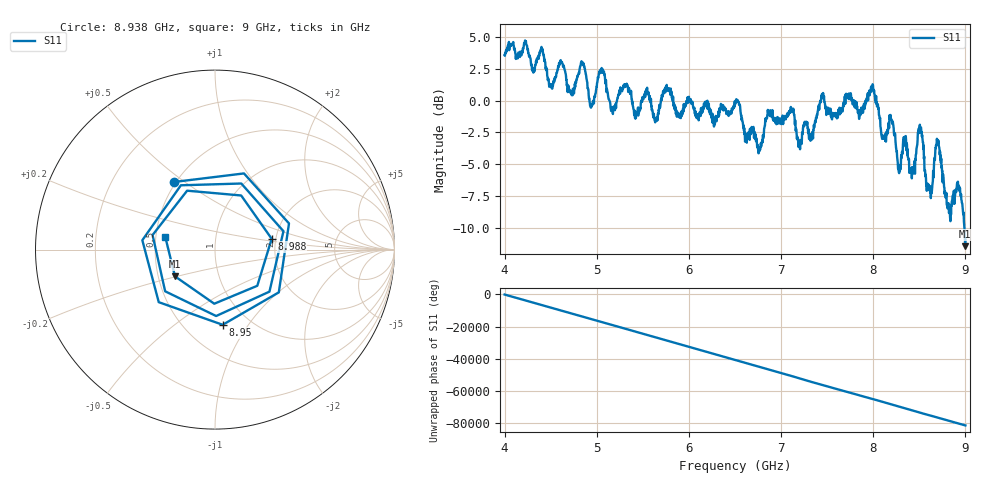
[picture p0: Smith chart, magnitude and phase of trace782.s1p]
! Created with skrf 1.8.0 (http://scikit-rf.org).
# Hz S RI R 50.0
!freq ReS11 ImS11
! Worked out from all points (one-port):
!   1601 points, 4 GHz to 9 GHz, reference 50 ohm
!   lowest |S11| = -11.4 dB at 8.997 GHz (marker M1), VSWR 1.73, Z = 30.6 - j9.83 ohm
!   |S11| at or under -10 dB: 8.989381 GHz to end of sweep
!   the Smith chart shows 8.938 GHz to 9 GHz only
!   S11 on the Smith chart (normalised r, x): 8.938 GHz: 0.49, +0.46; 8.95 GHz: 0.75, -0.77; 8.988 GHz: 1.90, +0.25; 9 GHz: 0.56, +0.08
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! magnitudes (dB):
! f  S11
! 4 GHz  3.6
! 4.625 GHz  2.9
! 4.728 GHz  0.4
! 4.853 GHz  2.8
! 4.944 GHz  -0.4
! 5.05 GHz  2.4
! 5.172 GHz  -0.7
! 5.25 GHz  0.6
! 5.875 GHz  -0.9
! 6.5 GHz  -0.3
! 6.762 GHz  -4.0
! 7.125 GHz  -0.6
! 7.2 GHz  -3.6
! 7.444 GHz  0.5
! 7.75 GHz  0.6
! 7.991 GHz  1.1
! 8.106 GHz  -2.8
! 8.375 GHz  -4.4
! 8.428 GHz  -5.7
! 8.509 GHz  -2.2
! 8.6 GHz  -6.6
! 8.7 GHz  -3.3
! 8.822 GHz  -8.8
! 8.938 GHz  -7.1
! 8.95 GHz  -7.5
! 8.988 GHz  -9.9
! 8.997 GHz  -11.4
! 9 GHz  -10.9
